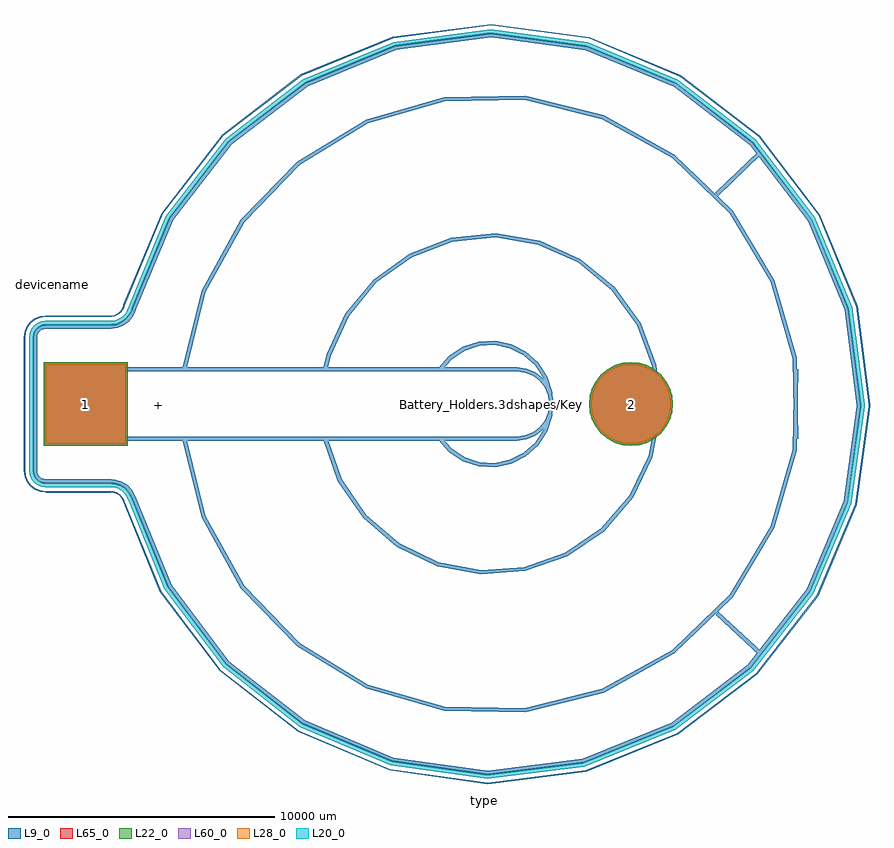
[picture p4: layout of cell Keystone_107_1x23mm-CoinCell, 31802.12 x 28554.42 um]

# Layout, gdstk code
import gdstk
lib = gdstk.Library(unit=1e-6, precision=1e-09)
def R(c, l, rs):  # rectangles x0, y0, x1, y1
    for r in rs: c.add(gdstk.rectangle(r[:2], r[2:], *l))
def P(c, l, *ps):  # polygons
    for p in ps: c.add(gdstk.Polygon(p, *l))
L9_0 = (9, 0)
L20_0 = (20, 0)
L22_0 = (22, 0)
L28_0 = (28, 0)
L60_0 = (60, 0)
L65_0 = (65, 0)

keystone_107_1x23mm_coin = lib.new_cell('Keystone_107_1x23mm-CoinCell')
R(keystone_107_1x23mm_coin, L22_0, [(-1575,-1575,1575,1575)])
P(keystone_107_1x23mm_coin, L22_0, [(22065,0),(22034.737,307.267),(21945.11,602.726),(21799.565,875.023),(21603.693,1113.693),(21365.023,1309.565),(21092.726,1455.11),(20797.267,1544.737),(20490,1575),(20182.733,1544.737),(19887.274,1455.11),(19614.977,1309.565),(19376.307,1113.693),(19180.435,875.023),(19034.89,602.726),(18945.263,307.267),(18915,0),(18945.263,-307.267),(19034.89,-602.726),(19180.435,-875.023),(19376.307,-1113.693),(19614.977,-1309.565),(19887.274,-1455.11),(20182.733,-1544.737),(20490,-1575),(20797.267,-1544.737),(21092.726,-1455.11),(21365.023,-1309.565),(21603.693,-1113.693),(21799.565,-875.023),(21945.11,-602.726),(22034.737,-307.267)])
R(keystone_107_1x23mm_coin, L28_0, [(-1500,-1500,1500,1500)])
P(keystone_107_1x23mm_coin, L28_0, [(21990,0),(21961.178,292.635),(21875.819,574.025),(21737.204,833.355),(21550.66,1060.66),(21323.355,1247.204),(21064.025,1385.819),(20782.635,1471.178),(20490,1500),(20197.365,1471.178),(19915.975,1385.819),(19656.645,1247.204),(19429.34,1060.66),(19242.796,833.355),(19104.181,574.025),(19018.822,292.635),(18990,0),(19018.822,-292.635),(19104.181,-574.025),(19242.796,-833.355),(19429.34,-1060.66),(19656.645,-1247.204),(19915.975,-1385.819),(20197.365,-1471.178),(20490,-1500),(20782.635,-1471.178),(21064.025,-1385.819),(21323.355,-1247.204),(21550.66,-1060.66),(21737.204,-833.355),(21875.819,-574.025),(21961.178,-292.635)])
R(keystone_107_1x23mm_coin, L60_0, [(-1500,-1500,1500,1500)])
P(keystone_107_1x23mm_coin, L60_0, [(21990,0),(21961.178,292.635),(21875.819,574.025),(21737.204,833.355),(21550.66,1060.66),(21323.355,1247.204),(21064.025,1385.819),(20782.635,1471.178),(20490,1500),(20197.365,1471.178),(19915.975,1385.819),(19656.645,1247.204),(19429.34,1060.66),(19242.796,833.355),(19104.181,574.025),(19018.822,292.635),(18990,0),(19018.822,-292.635),(19104.181,-574.025),(19242.796,-833.355),(19429.34,-1060.66),(19656.645,-1247.204),(19915.975,-1385.819),(20197.365,-1471.178),(20490,-1500),(20782.635,-1471.178),(21064.025,-1385.819),(21323.355,-1247.204),(21550.66,-1060.66),(21737.204,-833.355),(21875.819,-574.025),(21961.178,-292.635)])
R(keystone_107_1x23mm_coin, L65_0, [(-1575,-1575,1575,1575)])
P(keystone_107_1x23mm_coin, L65_0, [(22065,0),(22034.737,307.267),(21945.11,602.726),(21799.565,875.023),(21603.693,1113.693),(21365.023,1309.565),(21092.726,1455.11),(20797.267,1544.737),(20490,1575),(20182.733,1544.737),(19887.274,1455.11),(19614.977,1309.565),(19376.307,1113.693),(19180.435,875.023),(19034.89,602.726),(18945.263,307.267),(18915,0),(18945.263,-307.267),(19034.89,-602.726),(19180.435,-875.023),(19376.307,-1113.693),(19614.977,-1309.565),(19887.274,-1455.11),(20182.733,-1544.737),(20490,-1575),(20797.267,-1544.737),(21092.726,-1455.11),(21365.023,-1309.565),(21603.693,-1113.693),(21799.565,-875.023),(21945.11,-602.726),(22034.737,-307.267)])
keystone_107_1x23mm_coin.add(gdstk.FlexPath([(23710.9,7886.7),(25339.2,9438.8)], 149.998, ends="flush", simple_path=True, layer=9, datatype=0))  # L9_0
keystone_107_1x23mm_coin.add(gdstk.FlexPath([(23723.6,-7861.3),(25367.3,-9390.7)], 149.998, ends="flush", simple_path=True, layer=9, datatype=0))  # L9_0
keystone_107_1x23mm_coin.add(gdstk.FlexPath([(-1500,2900),(-1603.528,2886.37),(-1700,2846.41),(-1782.843,2782.843),(-1846.41,2700),(-1886.37,2603.528),(-1900,2500)], 149.998, ends="flush", simple_path=True, layer=9, datatype=0))  # L9_0
keystone_107_1x23mm_coin.add(gdstk.FlexPath([(-2300,-2500),(-2272.741,-2707.055),(-2192.82,-2900),(-2065.685,-3065.685),(-1900,-3192.82),(-1707.055,-3272.741),(-1500,-3300)], 50, ends="flush", simple_path=True, layer=9, datatype=0))  # L9_0
keystone_107_1x23mm_coin.add(gdstk.FlexPath([(0,1300),(0,-1300)], 149.998, ends="flush", simple_path=True, layer=9, datatype=0))  # L9_0
keystone_107_1x23mm_coin.add(gdstk.FlexPath([(16200,-1300),(16536.465,-1255.704),(16850,-1125.833),(17119.239,-919.239),(17325.833,-650),(17455.704,-336.465),(17500,0),(17455.704,336.465),(17325.833,650),(17119.239,919.239),(16850,1125.833),(16536.465,1255.704),(16200,1300)], 149.998, ends="flush", simple_path=True, layer=9, datatype=0))  # L9_0
keystone_107_1x23mm_coin.add(gdstk.FlexPath([(950,3300),(1079.41,3317.037),(1200,3366.987),(1303.553,3446.447),(1383.012,3550),(1419.846,3628.99)], 50, ends="flush", simple_path=True, layer=9, datatype=0))  # L9_0
keystone_107_1x23mm_coin.add(gdstk.FlexPath([(16200,1300),(0,1300)], 149.998, ends="flush", simple_path=True, layer=9, datatype=0))  # L9_0
keystone_107_1x23mm_coin.add(gdstk.FlexPath([(0,-1300),(16200,-1300)], 149.998, ends="flush", simple_path=True, layer=9, datatype=0))  # L9_0
keystone_107_1x23mm_coin.add(gdstk.FlexPath([(-1900,2500),(-1900,-2500)], 149.998, ends="flush", simple_path=True, layer=9, datatype=0))  # L9_0
keystone_107_1x23mm_coin.add(gdstk.FlexPath([(-1500,-3300),(950,-3300)], 50, ends="flush", simple_path=True, layer=9, datatype=0))  # L9_0
keystone_107_1x23mm_coin.add(gdstk.FlexPath([(950,3300),(-1500,3300)], 50, ends="flush", simple_path=True, layer=9, datatype=0))  # L9_0
keystone_107_1x23mm_coin.add(gdstk.FlexPath([(26700,-1299.999),(26644.612,1720.716),(25809.292,4624.168),(24250.966,7212.49),(22075.832,9309.293),(19432.122,10771.683),(16499.999,11500),(13479.284,11444.612),(10575.832,10609.292),(7987.51,9050.966),(5890.707,6875.832),(4428.317,4232.122),(3700,1300)], 149.998, ends="flush", simple_path=True, layer=9, datatype=0))  # L9_0
keystone_107_1x23mm_coin.add(gdstk.FlexPath([(21531.55,-203.631),(21368.511,1442.033),(20785.099,2989.425),(19821.071,4333.093),(18542.125,5381.468),(17035.418,6063.104),(15403.631,6331.55),(13757.967,6168.512),(12210.574,5585.099),(10866.907,4621.071),(9818.532,3342.125),(9136.895,1835.418),(9000,1300)], 149.998, ends="flush", simple_path=True, layer=9, datatype=0))  # L9_0
keystone_107_1x23mm_coin.add(gdstk.FlexPath([(17495.448,-175.833),(17462.741,424.264),(17275.833,995.448),(16947.46,1498.794),(16500,1900),(15963.947,2171.724),(15375.833,2295.448),(14775.736,2262.742),(14204.552,2075.833),(13701.206,1747.46),(13300,1300)], 149.998, ends="flush", simple_path=True, layer=9, datatype=0))  # L9_0
keystone_107_1x23mm_coin.add(gdstk.FlexPath([(13300,-1300),(13701.206,-1747.46),(14204.552,-2075.833),(14775.736,-2262.742),(15375.833,-2295.448),(15963.947,-2171.724),(16500,-1900),(16947.46,-1498.794),(17275.833,-995.448),(17462.741,-424.264),(17495.448,175.833)], 149.998, ends="flush", simple_path=True, layer=9, datatype=0))  # L9_0
keystone_107_1x23mm_coin.add(gdstk.FlexPath([(9000,-1300),(9547.725,-2860.382),(10480.643,-4225.833),(11735.177,-5303.301),(13225.833,-6019.357),(14851.026,-6325.205),(16500,-6200),(18060.381,-5652.275),(19425.833,-4719.357),(20503.3,-3464.823),(21219.357,-1974.167),(21525.204,-348.974),(21531.55,203.631)], 149.998, ends="flush", simple_path=True, layer=9, datatype=0))  # L9_0
keystone_107_1x23mm_coin.add(gdstk.FlexPath([(3700,-1300),(4428.318,-4232.123),(5890.708,-6875.833),(7987.511,-9050.967),(10575.833,-10609.292),(13479.285,-11444.612),(16500,-11500),(19432.123,-10771.682),(22075.833,-9309.292),(24250.967,-7212.489),(25809.292,-4624.167),(26644.612,-1720.715),(26700,1299.999)], 149.998, ends="flush", simple_path=True, layer=9, datatype=0))  # L9_0
keystone_107_1x23mm_coin.add(gdstk.FlexPath([(29452.123,-32.591),(28974.929,3657.24),(27558.996,7097.837),(25300.818,10054.728),(22354.286,12326.405),(18920.201,13758.059),(15232.591,14252.124),(11542.759,13774.929),(8102.163,12358.997),(5145.272,10100.819),(2873.594,7154.287),(1441.941,3720.202),(1410,3600)], 50, ends="flush", simple_path=True, layer=9, datatype=0))  # L9_0
keystone_107_1x23mm_coin.add(gdstk.FlexPath([(1410,-3600),(2811.631,-7046.448),(5057.51,-10012.691),(7994.582,-12296.587),(11422.692,-13742.49),(15108.218,-14251.865),(18800,-13789.999),(22246.447,-12388.368),(25212.691,-10142.49),(27496.586,-7205.418),(28942.489,-3777.308),(29451.865,-91.782),(29452.123,32.591)], 50, ends="flush", simple_path=True, layer=9, datatype=0))  # L9_0
keystone_107_1x23mm_coin.add(gdstk.FlexPath([(1419.846,-3628.99),(1359.576,-3513.212),(1271.394,-3416.978),(1161.309,-3346.846),(1036.824,-3307.596),(950,-3300)], 50, ends="flush", simple_path=True, layer=9, datatype=0))  # L9_0
keystone_107_1x23mm_coin.add(gdstk.FlexPath([(-2300,2500),(-2300,-2500)], 50, ends="flush", simple_path=True, layer=9, datatype=0))  # L9_0
keystone_107_1x23mm_coin.add(gdstk.FlexPath([(-1500,3300),(-1707.055,3272.741),(-1900,3192.82),(-2065.685,3065.685),(-2192.82,2900),(-2272.741,2707.055),(-2300,2500)], 50, ends="flush", simple_path=True, layer=9, datatype=0))  # L9_0
keystone_107_1x23mm_coin.add(gdstk.FlexPath([(-1900,-2500),(-1886.37,-2603.528),(-1846.41,-2700),(-1782.843,-2782.843),(-1700,-2846.41),(-1603.528,-2886.37),(-1500,-2900)], 149.998, ends="flush", simple_path=True, layer=9, datatype=0))  # L9_0
keystone_107_1x23mm_coin.add(gdstk.FlexPath([(-1500,-2900),(950,-2900)], 149.998, ends="flush", simple_path=True, layer=9, datatype=0))  # L9_0
keystone_107_1x23mm_coin.add(gdstk.FlexPath([(950,2900),(-1500,2900)], 149.998, ends="flush", simple_path=True, layer=9, datatype=0))  # L9_0
keystone_107_1x23mm_coin.add(gdstk.FlexPath([(-2050,2500),(-2050,-2500)], 149.998, ends="flush", simple_path=True, layer=20, datatype=0))  # L20_0
keystone_107_1x23mm_coin.add(gdstk.FlexPath([(-2050,-2500),(-2031.259,-2642.35),(-1976.314,-2775),(-1888.909,-2888.909),(-1775,-2976.314),(-1642.35,-3031.259),(-1500,-3050)], 149.998, ends="flush", simple_path=True, layer=20, datatype=0))  # L20_0
keystone_107_1x23mm_coin.add(gdstk.FlexPath([(-1500,3050),(-1642.35,3031.259),(-1775,2976.314),(-1888.909,2888.909),(-1976.314,2775),(-2031.259,2642.35),(-2050,2500)], 149.998, ends="flush", simple_path=True, layer=20, datatype=0))  # L20_0
keystone_107_1x23mm_coin.add(gdstk.FlexPath([(-1500,-3050),(950,-3050)], 149.998, ends="flush", simple_path=True, layer=20, datatype=0))  # L20_0
keystone_107_1x23mm_coin.add(gdstk.FlexPath([(950,3050),(-1500,3050)], 149.998, ends="flush", simple_path=True, layer=20, datatype=0))  # L20_0
keystone_107_1x23mm_coin.add(gdstk.FlexPath([(950,2900),(1182.937,2930.667),(1400,3020.577),(1586.396,3163.604),(1729.423,3350),(1795.723,3492.182)], 149.998, ends="flush", simple_path=True, layer=9, datatype=0))  # L9_0
keystone_107_1x23mm_coin.add(gdstk.FlexPath([(950,3050),(1144.114,3075.556),(1325,3150.481),(1480.33,3269.67),(1599.519,3425),(1654.769,3543.485)], 149.998, ends="flush", simple_path=True, layer=20, datatype=0))  # L20_0
keystone_107_1x23mm_coin.add(gdstk.FlexPath([(1795.723,-3492.182),(1687.237,-3283.781),(1528.509,-3110.56),(1330.356,-2984.323),(1106.283,-2913.673),(950,-2900)], 149.998, ends="flush", simple_path=True, layer=9, datatype=0))  # L9_0
keystone_107_1x23mm_coin.add(gdstk.FlexPath([(1654.769,-3543.485),(1564.364,-3369.818),(1432.09,-3225.467),(1266.964,-3120.269),(1080.236,-3061.394),(950,-3050)], 149.998, ends="flush", simple_path=True, layer=20, datatype=0))  # L20_0
keystone_107_1x23mm_coin.add(gdstk.FlexPath([(29049.508,-33.424),(28586.248,3552.231),(27210.738,6895.808),(25016.715,9769.447),(22153.7,11977.314),(18816.802,13368.947),(15233.424,13849.508),(11647.769,13386.248),(8304.192,12010.738),(5430.553,9816.716),(3222.686,6953.7),(1831.053,3616.802),(1800,3500)], 149.998, ends="flush", simple_path=True, layer=9, datatype=0))  # L9_0
keystone_107_1x23mm_coin.add(gdstk.FlexPath([(29199.738,-15.23),(28726.65,3608.688),(27331.744,6986.679),(25110.079,9888.54),(22213.059,12116.514),(18838.11,13518.767),(15215.23,13999.738),(11591.312,13526.65),(8213.321,12131.744),(5311.459,9910.079),(3083.486,7013.059),(1681.233,3638.11),(1650,3520)], 149.998, ends="flush", simple_path=True, layer=20, datatype=0))  # L20_0
keystone_107_1x23mm_coin.add(gdstk.FlexPath([(1800,-3500),(3162.461,-6848.916),(5345.26,-9731.089),(8199.643,-11950.105),(11531.089,-13354.74),(15112.565,-13849.273),(18700,-13400),(22048.915,-12037.539),(24931.089,-9854.74),(27150.104,-7000.357),(28554.74,-3668.911),(29049.272,-87.435),(29049.508,33.424)], 149.998, ends="flush", simple_path=True, layer=9, datatype=0))  # L9_0
keystone_107_1x23mm_coin.add(gdstk.FlexPath([(1650,-3520),(3022.748,-6907.057),(5225.356,-9823.409),(8107.719,-12070.313),(11473.409,-13494.644),(15093.061,-13999.338),(18720,-13550),(22107.057,-12177.252),(25023.409,-9974.644),(27270.313,-7092.281),(28694.644,-3726.591),(29199.338,-106.939),(29199.738,15.23)], 149.998, ends="flush", simple_path=True, layer=20, datatype=0))  # L20_0
keystone_107_1x23mm_coin.add(gdstk.Label('Battery_Holders.3dshapes/Keystone_107_1x23mm-CoinCell.wrl', (15240,0), layer=12, texttype=0))
keystone_107_1x23mm_coin.add(gdstk.Label('1', (0,0), layer=28, texttype=0))
keystone_107_1x23mm_coin.add(gdstk.Label('2', (20490,0), layer=28, texttype=0))
keystone_107_1x23mm_coin.add(gdstk.Label('+', (2750,0), layer=9, texttype=0))
keystone_107_1x23mm_coin.add(gdstk.Label('type', (15000,-15000), layer=9, texttype=0))
keystone_107_1x23mm_coin.add(gdstk.Label('devicename', (-1250,4500), layer=9, texttype=0))

lib.write_gds('Keystone_107_1x23mm-CoinCell.gds')
